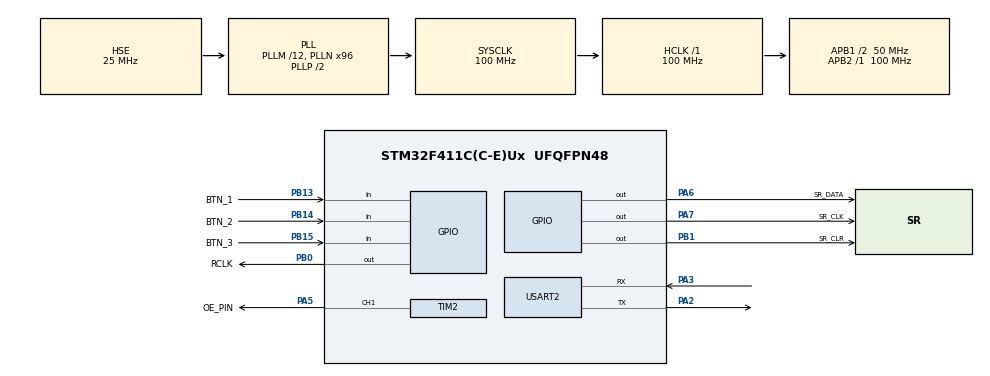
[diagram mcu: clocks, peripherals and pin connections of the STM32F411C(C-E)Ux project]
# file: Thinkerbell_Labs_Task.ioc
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FREERTOS.Mutexes01=shiftreg_mutex,Dynamic,NULL,Available
FREERTOS.Queues01=button_event_queue,16,BTN_event_t,0,Dynamic,NULL,NULL;display_pattern_queue,16,Display_update_data_t,0,Dynamic,NULL,NULL
FREERTOS.Tasks01=BTN_IN_Thread,24,1024,ButtonInputTask,Default,NULL,Dynamic,NULL,NULL;MENU_Thread,24,1024,MenuLogicTask,Default,NULL,Dynamic,NULL,NULL;DISP_MGR_Thread,24,1024,DisplayManagerTask,Default,NULL,Dynamic,NULL,NULL
FREERTOS.configENABLE_FPU=1
FREERTOS.configUSE_NEWLIB_REENTRANT=1
Mcu.Family=STM32F4
Mcu.Name=STM32F411C(C-E)Ux
Mcu.Package=UFQFPN48
NVIC.PriorityGroup=NVIC_PRIORITYGROUP_4
NVIC.TIM5_IRQn=true\:15\:0\:false\:false\:true\:false\:false\:true\:true
NVIC.TimeBase=TIM5_IRQn
NVIC.TimeBaseIP=TIM5
PA13.Mode=Serial_Wire
PA13.Signal=SYS_JTMS-SWDIO
PA14.Mode=Serial_Wire
PA14.Signal=SYS_JTCK-SWCLK
PA2.Mode=Asynchronous
PA2.Signal=USART2_TX
PA3.Mode=Asynchronous
PA3.Signal=USART2_RX
PA5.GPIO_Label=OE_PIN
PA5.Signal=S_TIM2_CH1_ETR
PA6.GPIO_Label=SR_DATA
PA6.GPIO_Speed=GPIO_SPEED_FREQ_VERY_HIGH
PA6.Signal=GPIO_Output
PA7.GPIO_Label=SR_CLK
PA7.GPIO_Speed=GPIO_SPEED_FREQ_VERY_HIGH
PA7.Signal=GPIO_Output
PB0.GPIO_Label=RCLK
PB0.GPIO_Speed=GPIO_SPEED_FREQ_HIGH
PB0.Signal=GPIO_Output
PB1.GPIO_Label=SR_CLR
PB1.PinState=GPIO_PIN_SET
PB1.Signal=GPIO_Output
PB13.GPIO_Label=BTN_1
PB13.Signal=GPIO_Input
PB14.GPIO_Label=BTN_2
PB14.Signal=GPIO_Input
PB15.GPIO_Label=BTN_3
PB15.Signal=GPIO_Input
PH0\ -\ OSC_IN.Mode=HSE-External-Oscillator
PH0\ -\ OSC_IN.Signal=RCC_OSC_IN
PH1\ -\ OSC_OUT.Mode=HSE-External-Oscillator
PH1\ -\ OSC_OUT.Signal=RCC_OSC_OUT
ProjectManager.HeapSize=0x200
ProjectManager.StackSize=0x400
ProjectManager.TargetToolchain=STM32CubeIDE
RCC.48MHZClocksFreq_Value=50000000
RCC.AHBFreq_Value=100000000
RCC.APB1CLKDivider=RCC_HCLK_DIV2
RCC.APB1Freq_Value=50000000
RCC.APB1TimFreq_Value=100000000
RCC.APB2Freq_Value=100000000
RCC.APB2TimFreq_Value=100000000
RCC.CortexFreq_Value=100000000
RCC.HCLKFreq_Value=100000000
RCC.HSE_VALUE=25000000
RCC.HSI_VALUE=16000000
RCC.LSE_VALUE=32768
RCC.PLLM=12
RCC.PLLN=96
RCC.PLLSourceVirtual=RCC_PLLSOURCE_HSE
RCC.SYSCLKFreq_VALUE=100000000
RCC.SYSCLKSource=RCC_SYSCLKSOURCE_PLLCLK
RCC.VCOOutputFreq_Value=200000000
SH.S_TIM2_CH1_ETR.0=TIM2_CH1,PWM Generation1 CH1
TIM2.Channel-PWM\ Generation1\ CH1=TIM_CHANNEL_1
TIM2.Period=99
TIM2.Prescaler=999
USART2.VirtualMode=VM_ASYNC
VP_FREERTOS_VS_CMSIS_V2.Mode=CMSIS_V2
VP_SYS_VS_tim5.Mode=TIM5
board=custom

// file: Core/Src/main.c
/* USER CODE BEGIN Header */
/**
 ******************************************************************************
 * @file           : main.c
 * @brief          : Main program body
 ******************************************************************************
 * @attention
 *
 * Copyright (c) 2026 STMicroelectronics.
 * All rights reserved.
 *
 * This software is licensed under terms that can be found in the LICENSE file
 * in the root directory of this software component.
 * If no LICENSE file comes with this software, it is provided AS-IS.
 *
 ******************************************************************************
 */
/* USER CODE END Header */
#include "main.h"
#include "cmsis_os.h"
#include "tim.h"
#include "usart.h"
#include "gpio.h"

/* USER CODE BEGIN Includes */
#include "Button.h"
/* USER CODE END Includes */

void SystemClock_Config(void);
void MX_FREERTOS_Init(void);

int main(void)
{

  /* MCU Configuration--------------------------------------------------------*/

  /* Reset of all peripherals, Initializes the Flash interface and the Systick. */
  HAL_Init();

  /* Configure the system clock */
  SystemClock_Config();

  /* Initialize all configured peripherals */
  MX_GPIO_Init();
  MX_USART2_UART_Init();
  MX_TIM2_Init();

  /* Init scheduler */
  osKernelInitialize();  /* Call init function for freertos objects (in cmsis_os2.c) */
  MX_FREERTOS_Init();

  /* Start scheduler */
  osKernelStart();

  /* We should never get here as control is now taken by the scheduler */

  /* Infinite loop */
	while (1) {

	}
}

void SystemClock_Config(void)
{
  RCC_OscInitTypeDef RCC_OscInitStruct = {0};
  RCC_ClkInitTypeDef RCC_ClkInitStruct = {0};

  /** Configure the main internal regulator output voltage
  */
  __HAL_RCC_PWR_CLK_ENABLE();
  __HAL_PWR_VOLTAGESCALING_CONFIG(PWR_REGULATOR_VOLTAGE_SCALE1);

  /** Initializes the RCC Oscillators according to the specified parameters
  * in the RCC_OscInitTypeDef structure.
  */
  RCC_OscInitStruct.OscillatorType = RCC_OSCILLATORTYPE_HSE;
  RCC_OscInitStruct.HSEState = RCC_HSE_ON;
  RCC_OscInitStruct.PLL.PLLState = RCC_PLL_ON;
  RCC_OscInitStruct.PLL.PLLSource = RCC_PLLSOURCE_HSE;
  RCC_OscInitStruct.PLL.PLLM = 12;
  RCC_OscInitStruct.PLL.PLLN = 96;
  RCC_OscInitStruct.PLL.PLLP = RCC_PLLP_DIV2;
  RCC_OscInitStruct.PLL.PLLQ = 4;
  if (HAL_RCC_OscConfig(&RCC_OscInitStruct) != HAL_OK)
  {
    Error_Handler();
  }

  /** Initializes the CPU, AHB and APB buses clocks
  */
  RCC_ClkInitStruct.ClockType = RCC_CLOCKTYPE_HCLK|RCC_CLOCKTYPE_SYSCLK
                              |RCC_CLOCKTYPE_PCLK1|RCC_CLOCKTYPE_PCLK2;
  RCC_ClkInitStruct.SYSCLKSource = RCC_SYSCLKSOURCE_PLLCLK;
  RCC_ClkInitStruct.AHBCLKDivider = RCC_SYSCLK_DIV1;
  RCC_ClkInitStruct.APB1CLKDivider = RCC_HCLK_DIV2;
  RCC_ClkInitStruct.APB2CLKDivider = RCC_HCLK_DIV1;

  if (HAL_RCC_ClockConfig(&RCC_ClkInitStruct, FLASH_LATENCY_3) != HAL_OK)
  {
    Error_Handler();
  }
}

void HAL_TIM_PeriodElapsedCallback(TIM_HandleTypeDef *htim)
{
  if (htim->Instance == TIM5)
  {
    HAL_IncTick();
  }
}

void Error_Handler(void)
{
	__disable_irq();
	while (1) {
	}
}

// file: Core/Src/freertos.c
/* USER CODE BEGIN Header */
/**
 ******************************************************************************
 * File Name          : freertos.c
 * Description        : Code for freertos applications
 ******************************************************************************
 * @attention
 *
 * Copyright (c) 2026 STMicroelectronics.
 * All rights reserved.
 *
 * This software is licensed under terms that can be found in the LICENSE file
 * in the root directory of this software component.
 * If no LICENSE file comes with this software, it is provided AS-IS.
 *
 ******************************************************************************
 */
/* USER CODE END Header */

#include "FreeRTOS.h"
#include "task.h"
#include "main.h"
#include "cmsis_os.h"

/* USER CODE BEGIN Includes */
#include "Display.h"
#include "Button.h"
#include "Menu.h"
/* USER CODE END Includes */

/* USER CODE BEGIN PD */
#define AUTO_CYCLE_PERIOD_MS	2000
/* USER CODE END PD */

/* USER CODE BEGIN PM */
static Button_t Buttons[TOTAL_BTNS];
static Menu_t Menu;
static SN74HC595_t ShiftRegister;
static Display_Manager_t DisplayManager;
/* USER CODE END PM */

/* Definitions for BTN_IN_Thread */
osThreadId_t BTN_IN_ThreadHandle;
const osThreadAttr_t BTN_IN_Thread_attributes = {
  .name = "BTN_IN_Thread",
  .stack_size = 1024 * 4,
  .priority = (osPriority_t) osPriorityNormal,
};
/* Definitions for MENU_Thread */
osThreadId_t MENU_ThreadHandle;
const osThreadAttr_t MENU_Thread_attributes = {
  .name = "MENU_Thread",
  .stack_size = 1024 * 4,
  .priority = (osPriority_t) osPriorityNormal,
};
/* Definitions for DISP_MGR_Thread */
osThreadId_t DISP_MGR_ThreadHandle;
const osThreadAttr_t DISP_MGR_Thread_attributes = {
  .name = "DISP_MGR_Thread",
  .stack_size = 1024 * 4,
  .priority = (osPriority_t) osPriorityNormal,
};
/* Definitions for button_event_queue */
osMessageQueueId_t button_event_queueHandle;
const osMessageQueueAttr_t button_event_queue_attributes = {
  .name = "button_event_queue"
};
/* Definitions for display_pattern_queue */
osMessageQueueId_t display_pattern_queueHandle;
const osMessageQueueAttr_t display_pattern_queue_attributes = {
  .name = "display_pattern_queue"
};
/* Definitions for shiftreg_mutex */
osMutexId_t shiftreg_mutexHandle;
const osMutexAttr_t shiftreg_mutex_attributes = {
  .name = "shiftreg_mutex"
};

void ButtonInputTask(void *argument);
void MenuLogicTask(void *argument);
void DisplayManagerTask(void *argument);

void MX_FREERTOS_Init(void); /* (MISRA C 2004 rule 8.1) */

void MX_FREERTOS_Init(void) {
  /* Create the mutex(es) */
  /* creation of shiftreg_mutex */
  shiftreg_mutexHandle = osMutexNew(&shiftreg_mutex_attributes);

  /* Create the queue(s) */
  /* creation of button_event_queue */
  button_event_queueHandle = osMessageQueueNew (16, sizeof(BTN_event_t), &button_event_queue_attributes);

  /* creation of display_pattern_queue */
  display_pattern_queueHandle = osMessageQueueNew (16, sizeof(Display_update_data_t), &display_pattern_queue_attributes);

  /* Create the thread(s) */
  /* creation of BTN_IN_Thread */
  BTN_IN_ThreadHandle = osThreadNew(ButtonInputTask, NULL, &BTN_IN_Thread_attributes);

  /* creation of MENU_Thread */
  MENU_ThreadHandle = osThreadNew(MenuLogicTask, NULL, &MENU_Thread_attributes);

  /* creation of DISP_MGR_Thread */
  DISP_MGR_ThreadHandle = osThreadNew(DisplayManagerTask, NULL, &DISP_MGR_Thread_attributes);

}

void ButtonInputTask(void *argument)
{
  /* USER CODE BEGIN ButtonInputTask */
	Button_ctor(&Buttons[0], BTN_1, BTN_1_GPIO_Port, BTN_1_Pin,
			button_event_queueHandle);
	Button_ctor(&Buttons[1], BTN_2, BTN_2_GPIO_Port, BTN_2_Pin,
				button_event_queueHandle);
	Button_ctor(&Buttons[2], BTN_3, BTN_3_GPIO_Port, BTN_3_Pin,
				button_event_queueHandle);
	/* Infinite loop */
	for (;;) {
		for(int i = 0;i<TOTAL_BTNS;i++) { Button_read(&Buttons[i]); }
		osDelay(5);
	}
  /* USER CODE END ButtonInputTask */
}

void MenuLogicTask(void *argument)
{
  /* USER CODE BEGIN MenuLogicTask */
	osStatus_t status;
	BTN_event_t event;
	uint32_t last_auto_cycle_time = 0;

	// Initialize Menu
	Menu_ctor(&Menu, display_pattern_queueHandle);
	log_message("MenuLogic", LOG_INFO, "Menu Logic Task started");

	/* Infinite loop */
	for (;;) {
		// Check for button events (with timeout to allow auto-cycle checking)
		status = osMessageQueueGet(button_event_queueHandle, (void*) &event, 0, 100);

		if (status == osOK) {
			// Process button event
			log_message("MenuLogic", LOG_INFO, "BTN:%d EVT:%d TS:%lu",
			            event.id, event.type, event.timestamp);
			Menu_process_input(&Menu, event);
		}

		// Handle auto-mode pattern cycling (every 2 seconds)
		if (Menu_is_auto_mode_active()) {
			uint32_t current_time = HAL_GetTick();
			if ((current_time - last_auto_cycle_time) >= AUTO_CYCLE_PERIOD_MS) {
				Menu_auto_cycle_pattern(&Menu);
				last_auto_cycle_time = current_time;
				log_message("MenuLogic", LOG_DEBUG, "Auto mode: Pattern cycled");
			}
		} else {
			// Reset the timer when not in auto mode
			last_auto_cycle_time = HAL_GetTick();
		}
	}
  /* USER CODE END MenuLogicTask */
}

void DisplayManagerTask(void *argument)
{
  /* USER CODE BEGIN DisplayManagerTask */
	osStatus_t status;
		Display_update_data_t display_data;

		// Initialize Shift Register
		// Pin mappings from main.h:
		// - SR_DATA: PA6
		// - SR_CLK: PA7
		// - RCLK: PB0
		// - SR_CLR: PB1
		// - OE: TIM2_CH1 (PWM)
		SN74HC595_ctor(&ShiftRegister,
		               SR_DATA_GPIO_Port, SR_DATA_Pin,      // Serial Data
		               SR_CLK_GPIO_Port, SR_CLK_Pin,        // Serial Clock
		               RCLK_GPIO_Port, RCLK_Pin,            // Register Clock (Latch)
		               SR_CLR_GPIO_Port, SR_CLR_Pin,        // Clear
		               &htim2, TIM_CHANNEL_1);              // PWM for OE (brightness)

		// Initialize Display Manager
		Display_ctor(&DisplayManager,
		             &ShiftRegister,
		             display_pattern_queueHandle,
		             shiftreg_mutexHandle);

		log_message("DisplayMgr", LOG_INFO, "Display Manager Task started");

		/* Infinite loop */
		for (;;) {
			// Wait for display update requests from Menu
			status = osMessageQueueGet(display_pattern_queueHandle,
			                           (void*) &display_data,
			                           0,
			                           osWaitForever);

			if (status == osOK) {
				// Process the display update
				if (Display_update(&DisplayManager, &display_data)) {
				} else {
					log_message("DisplayMgr", LOG_ERROR, "Display update failed");
				}
			}
		}
  /* USER CODE END DisplayManagerTask */
}
